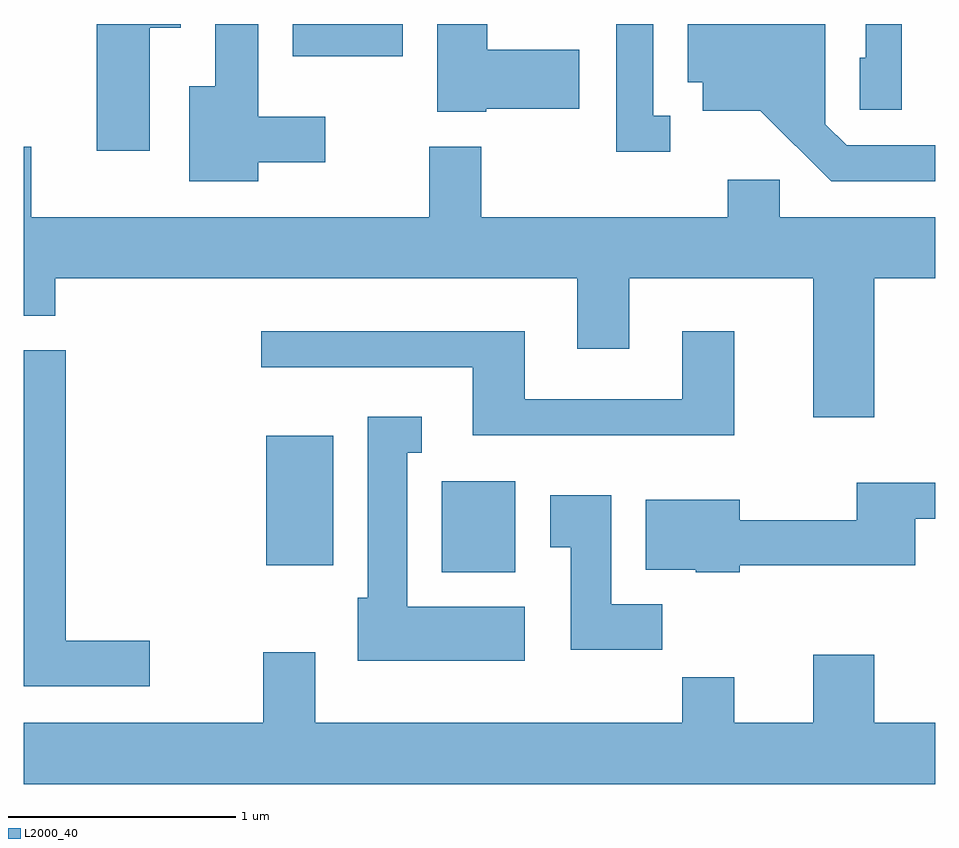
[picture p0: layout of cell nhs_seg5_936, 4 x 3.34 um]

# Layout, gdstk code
import gdstk
lib = gdstk.Library(unit=1e-6, precision=1e-09)
def R(c, l, rs):  # rectangles x0, y0, x1, y1
    for r in rs: c.add(gdstk.rectangle(r[:2], r[2:], *l))
def P(c, l, *ps):  # polygons
    for p in ps: c.add(gdstk.Polygon(p, *l))
L2000_40 = (2000, 40)

nhs_seg5_936 = lib.new_cell('nhs_seg5_936')
R(nhs_seg5_936, L2000_40, [(213.446,1517.666,213.769,1518.064), (212.676,1517.696,212.969,1518.264), (212.791,1519.931,213.274,1520.072)])
P(nhs_seg5_936, L2000_40, [(215.464,1520.072),(215.306,1520.072),(215.306,1519.924),(215.281,1519.924),(215.281,1519.696),(215.464,1519.696)],
  [(213.64,1519.701),(214.049,1519.701),(214.049,1519.959),(213.644,1519.959),(213.644,1520.072),(213.426,1520.072),(213.426,1519.686),(213.64,1519.686)],
  [(215.611,1519.539),(215.222,1519.539),(215.129,1519.632),(215.129,1520.072),(214.526,1520.072),(214.526,1519.816),(214.591,1519.816),(214.591,1519.691),(214.844,1519.691),(215.154,1519.381),(215.611,1519.381)],
  [(214.448,1519.669),(214.374,1519.669),(214.374,1520.072),(214.211,1520.072),(214.211,1519.511),(214.448,1519.511)],
  [(212.639,1519.466),(212.934,1519.466),(212.934,1519.664),(212.639,1519.664),(212.639,1520.072),(212.451,1520.072),(212.451,1519.799),(212.336,1519.799),(212.336,1519.381),(212.639,1519.381)],
  [(212.164,1520.056),(212.299,1520.056),(212.299,1520.072),(211.931,1520.072),(211.931,1519.516),(212.164,1519.516)],
  [(215.344,1518.956),(215.611,1518.956),(215.611,1519.224),(214.929,1519.224),(214.929,1519.389),(214.701,1519.389),(214.701,1519.224),(213.619,1519.224),(213.619,1519.534),(213.391,1519.534),(213.391,1519.224),(211.644,1519.224),(211.644,1519.534),(211.611,1519.534),(211.611,1518.791),(211.749,1518.791),(211.749,1518.956),(214.041,1518.956),(214.041,1518.646),(214.269,1518.646),(214.269,1518.956),(215.076,1518.956),(215.076,1518.346),(215.344,1518.346)],
  [(214.729,1518.724),(214.501,1518.724),(214.501,1518.424),(213.809,1518.424),(213.809,1518.724),(212.653,1518.724),(212.653,1518.566),(213.581,1518.566),(213.581,1518.266),(214.729,1518.266)],
  [(212.164,1517.364),(211.794,1517.364),(211.794,1518.639),(211.611,1518.639),(211.611,1517.166),(212.164,1517.166)],
  [(213.809,1517.514),(213.294,1517.514),(213.294,1518.191),(213.358,1518.191),(213.358,1518.349),(213.121,1518.349),(213.121,1517.554),(213.076,1517.554),(213.076,1517.276),(213.809,1517.276)],
  [(214.754,1517.696),(215.524,1517.696),(215.524,1517.901),(215.611,1517.901),(215.611,1518.059),(215.266,1518.059),(215.266,1517.894),(214.754,1517.894),(214.754,1517.984),(214.341,1517.984),(214.341,1517.676),(214.56,1517.676),(214.56,1517.666),(214.754,1517.666)],
  [(214.414,1517.524),(214.189,1517.524),(214.189,1518.004),(213.921,1518.004),(213.921,1517.776),(214.011,1517.776),(214.011,1517.326),(214.414,1517.326)],
  [(212.661,1517.314),(212.661,1517.004),(211.611,1517.004),(211.611,1516.736),(215.611,1516.736),(215.611,1517.004),(215.344,1517.004),(215.344,1517.304),(215.076,1517.304),(215.076,1517.004),(214.729,1517.004),(214.729,1517.204),(214.501,1517.204),(214.501,1517.004),(212.889,1517.004),(212.889,1517.314)])

lib.write_gds('nhs_seg5_936.gds')
